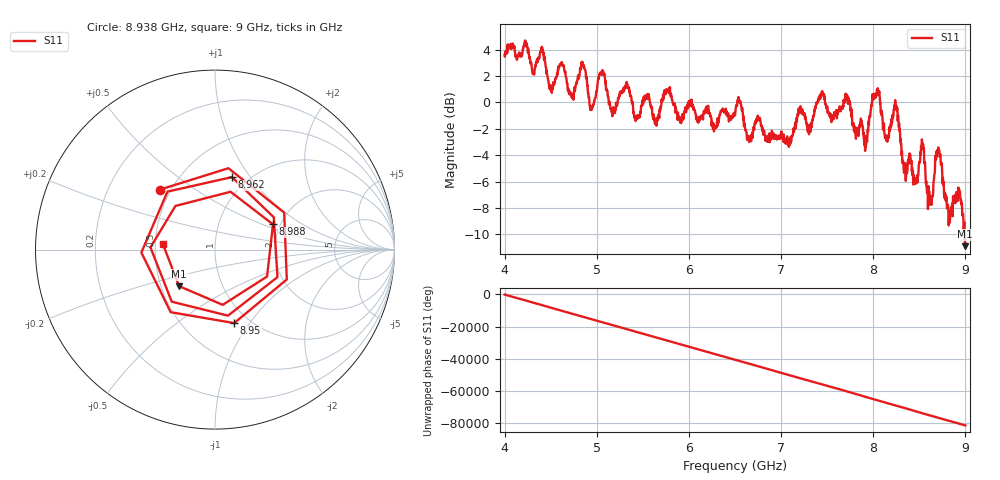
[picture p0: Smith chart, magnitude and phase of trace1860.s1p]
! Created with skrf 1.8.0 (http://scikit-rf.org).
# Hz S RI R 50.0
!freq ReS11 ImS11
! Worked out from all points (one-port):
!   1601 points, 4 GHz to 9 GHz, reference 50 ohm
!   lowest |S11| = -10.9 dB at 8.997 GHz (marker M1), VSWR 1.80, Z = 31 - j13.7 ohm
!   |S11| at or under -10 dB: 8.992945 GHz to end of sweep
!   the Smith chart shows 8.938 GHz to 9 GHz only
!   S11 on the Smith chart (normalised r, x): 8.938 GHz: 0.43, +0.37; 8.95 GHz: 0.85, -0.85; 8.962 GHz: 0.84, +0.82; 8.988 GHz: 1.83, +0.59; 9 GHz: 0.55, +0.04
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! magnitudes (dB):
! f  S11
! 4 GHz  3.6
! 4.506 GHz  0.9
! 4.625 GHz  2.9
! 4.725 GHz  0.7
! 4.856 GHz  2.9
! 4.944 GHz  -0.6
! 5.05 GHz  2.2
! 5.25 GHz  0.7
! 5.875 GHz  -1.1
! 6.5 GHz  -1.0
! 7.125 GHz  -2.5
! 7.441 GHz  0.8
! 7.75 GHz  -0.2
! 7.916 GHz  -2.6
! 8.028 GHz  0.5
! 8.144 GHz  -2.5
! 8.247 GHz  -0.2
! 8.375 GHz  -4.5
! 8.538 GHz  -3.3
! 8.619 GHz  -7.4
! 8.703 GHz  -3.8
! 8.816 GHz  -8.3
! 8.938 GHz  -6.8
! 8.95 GHz  -7.5
! 8.962 GHz  -7.6
! 8.988 GHz  -9.1
! 8.997 GHz  -10.9
! 9 GHz  -10.7
